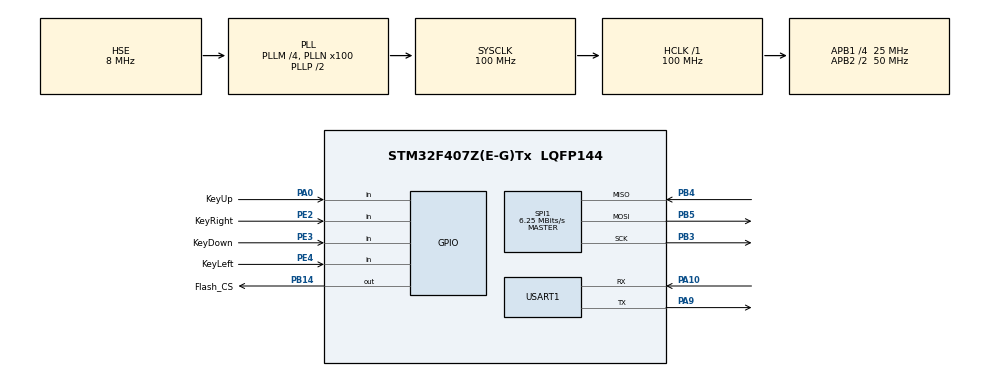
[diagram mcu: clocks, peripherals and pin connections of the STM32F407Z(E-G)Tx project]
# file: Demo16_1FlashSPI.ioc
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Dma.Request0=USART1_RX
Dma.Request1=USART1_TX
Dma.USART1_RX.0.Direction=DMA_PERIPH_TO_MEMORY
Dma.USART1_RX.0.FIFOMode=DMA_FIFOMODE_DISABLE
Dma.USART1_RX.0.Instance=DMA2_Stream2
Dma.USART1_RX.0.MemDataAlignment=DMA_MDATAALIGN_BYTE
Dma.USART1_RX.0.MemInc=DMA_MINC_ENABLE
Dma.USART1_RX.0.Mode=DMA_NORMAL
Dma.USART1_RX.0.PeriphDataAlignment=DMA_PDATAALIGN_BYTE
Dma.USART1_RX.0.PeriphInc=DMA_PINC_DISABLE
Dma.USART1_RX.0.Priority=DMA_PRIORITY_LOW
Dma.USART1_TX.1.Direction=DMA_MEMORY_TO_PERIPH
Dma.USART1_TX.1.FIFOMode=DMA_FIFOMODE_DISABLE
Dma.USART1_TX.1.Instance=DMA2_Stream7
Dma.USART1_TX.1.MemDataAlignment=DMA_MDATAALIGN_BYTE
Dma.USART1_TX.1.MemInc=DMA_MINC_ENABLE
Dma.USART1_TX.1.Mode=DMA_NORMAL
Dma.USART1_TX.1.PeriphDataAlignment=DMA_PDATAALIGN_BYTE
Dma.USART1_TX.1.PeriphInc=DMA_PINC_DISABLE
Dma.USART1_TX.1.Priority=DMA_PRIORITY_LOW
Mcu.Family=STM32F4
Mcu.Name=STM32F407Z(E-G)Tx
Mcu.Package=LQFP144
NVIC.DMA2_Stream2_IRQn=true\:0\:0\:false\:false\:true\:false\:true\:true
NVIC.DMA2_Stream7_IRQn=true\:0\:0\:false\:false\:true\:false\:true\:true
NVIC.PriorityGroup=NVIC_PRIORITYGROUP_4
NVIC.USART1_IRQn=true\:1\:0\:true\:false\:true\:true\:true\:true
PA0-WKUP.GPIO_Label=KeyUp
PA0-WKUP.GPIO_PuPd=GPIO_PULLDOWN
PA0-WKUP.Signal=GPIO_Input
PA10.Mode=Asynchronous
PA10.Signal=USART1_RX
PA13.Mode=Serial_Wire
PA13.Signal=SYS_JTMS-SWDIO
PA14.Mode=Serial_Wire
PA14.Signal=SYS_JTCK-SWCLK
PA9.Mode=Asynchronous
PA9.Signal=USART1_TX
PB14.GPIO_Label=Flash_CS
PB14.GPIO_PuPd=GPIO_PULLUP
PB14.GPIO_Speed=GPIO_SPEED_FREQ_HIGH
PB14.PinState=GPIO_PIN_SET
PB14.Signal=GPIO_Output
PB3.Mode=Full_Duplex_Master
PB3.Signal=SPI1_SCK
PB4.Mode=Full_Duplex_Master
PB4.Signal=SPI1_MISO
PB5.Mode=Full_Duplex_Master
PB5.Signal=SPI1_MOSI
PD0.GPIO_PuPd=GPIO_NOPULL
PD0.Signal=FSMC_D2_DA2
PD1.GPIO_PuPd=GPIO_NOPULL
PD1.Signal=FSMC_D3_DA3
PD10.GPIO_PuPd=GPIO_NOPULL
PD10.Signal=FSMC_D15_DA15
PD14.GPIO_PuPd=GPIO_NOPULL
PD14.Signal=FSMC_D0_DA0
PD15.GPIO_PuPd=GPIO_NOPULL
PD15.Signal=FSMC_D1_DA1
PD4.GPIO_PuPd=GPIO_NOPULL
PD4.Signal=FSMC_NOE
PD5.GPIO_PuPd=GPIO_NOPULL
PD5.Signal=FSMC_NWE
PD8.GPIO_PuPd=GPIO_NOPULL
PD8.Signal=FSMC_D13_DA13
PD9.GPIO_PuPd=GPIO_NOPULL
PD9.Signal=FSMC_D14_DA14
PE11.GPIO_PuPd=GPIO_NOPULL
PE11.Signal=FSMC_D8_DA8
PE12.GPIO_PuPd=GPIO_NOPULL
PE12.Signal=FSMC_D9_DA9
PE13.GPIO_PuPd=GPIO_NOPULL
PE13.Signal=FSMC_D10_DA10
PE14.GPIO_PuPd=GPIO_NOPULL
PE14.Signal=FSMC_D11_DA11
PE15.GPIO_PuPd=GPIO_NOPULL
PE15.Signal=FSMC_D12_DA12
PE2.GPIO_Label=KeyRight
PE2.GPIO_PuPd=GPIO_PULLUP
PE2.Signal=GPIO_Input
PE3.GPIO_Label=KeyDown
PE3.GPIO_PuPd=GPIO_PULLUP
PE3.Signal=GPIO_Input
PE4.GPIO_Label=KeyLeft
PE4.GPIO_PuPd=GPIO_PULLUP
PE4.Signal=GPIO_Input
PG12.GPIO_PuPd=GPIO_NOPULL
PG12.Signal=FSMC_NE4
PH0-OSC_IN.Mode=HSE-External-Oscillator
PH0-OSC_IN.Signal=RCC_OSC_IN
PH1-OSC_OUT.Mode=HSE-External-Oscillator
PH1-OSC_OUT.Signal=RCC_OSC_OUT
ProjectManager.HeapSize=0x200
ProjectManager.StackSize=0x400
ProjectManager.TargetToolchain=MDK-ARM V5.32
RCC.48MHZClocksFreq_Value=50000000
RCC.AHBFreq_Value=100000000
RCC.APB1CLKDivider=RCC_HCLK_DIV4
RCC.APB1Freq_Value=25000000
RCC.APB1TimFreq_Value=50000000
RCC.APB2CLKDivider=RCC_HCLK_DIV2
RCC.APB2Freq_Value=50000000
RCC.APB2TimFreq_Value=100000000
RCC.CortexFreq_Value=100000000
RCC.FLatency=FLASH_LATENCY_3
RCC.HCLKFreq_Value=100000000
RCC.HSE_VALUE=8000000
RCC.HSI_VALUE=16000000
RCC.LSE_VALUE=32768
RCC.PLLM=4
RCC.PLLN=100
RCC.PLLSourceVirtual=RCC_PLLSOURCE_HSE
RCC.SYSCLKFreq_VALUE=100000000
RCC.SYSCLKSource=RCC_SYSCLKSOURCE_PLLCLK
RCC.VCOOutputFreq_Value=200000000
SH.FSMC_D0_DA0.0=FSMC_D0
SH.FSMC_D10_DA10.0=FSMC_D10
SH.FSMC_D11_DA11.0=FSMC_D11
SH.FSMC_D12_DA12.0=FSMC_D12
SH.FSMC_D13_DA13.0=FSMC_D13
SH.FSMC_D14_DA14.0=FSMC_D14
SH.FSMC_D15_DA15.0=FSMC_D15
SH.FSMC_D1_DA1.0=FSMC_D1
SH.FSMC_D2_DA2.0=FSMC_D2
SH.FSMC_D3_DA3.0=FSMC_D3
SH.FSMC_D8_DA8.0=FSMC_D8
SH.FSMC_D9_DA9.0=FSMC_D9
SH.FSMC_NOE.0=FSMC_NOE
SH.FSMC_NWE.0=FSMC_NWE
SPI1.BaudRatePrescaler=SPI_BAUDRATEPRESCALER_8
SPI1.CLKPhase=SPI_PHASE_2EDGE
SPI1.CLKPolarity=SPI_POLARITY_HIGH
SPI1.CRCCalculation=SPI_CRCCALCULATION_DISABLE
SPI1.CalculateBaudRate=6.25 MBits/s
SPI1.Direction=SPI_DIRECTION_2LINES
SPI1.Mode=SPI_MODE_MASTER
SPI1.VirtualType=VM_MASTER
USART1.VirtualMode=VM_ASYNC
board=custom

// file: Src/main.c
/* USER CODE BEGIN Header */
/**
  ******************************************************************************
  * @file           : main.c
  * @brief          : Main program body
  ******************************************************************************
  * @attention
  *
  * <h2><center>&copy; Copyright (c) 2020 STMicroelectronics.
  * All rights reserved.</center></h2>
  *
  * This software component is licensed by ST under BSD 3-Clause license,
  * the "License"; You may not use this file except in compliance with the
  * License. You may obtain a copy of the License at:
  *                        opensource.org/licenses/BSD-3-Clause
  *
  ******************************************************************************
  */
/* USER CODE END Header */

#include "main.h"
#include "dma.h"
#include "spi.h"
#include "usart.h"
#include "gpio.h"

/* USER CODE BEGIN Includes */
#include "w25flash.h"
#include "UART_DMA.h"
/* USER CODE END Includes */

void SystemClock_Config(void);

int main(void)
{
  /* USER CODE BEGIN 1 */
extern uint8_t flag;
  /* USER CODE END 1 */

  /* MCU Configuration--------------------------------------------------------*/

  /* Reset of all peripherals, Initializes the Flash interface and the Systick. */
  HAL_Init();

  /* Configure the system clock */
  SystemClock_Config();

  /* Initialize all configured peripherals */
  MX_GPIO_Init();
  MX_DMA_Init();
  MX_SPI1_Init();
  MX_USART1_UART_Init();
  /* USER CODE BEGIN 2 */

StartUartRxDMA();

  /* USER CODE END 2 */

  /* Infinite loop */
  /* USER CODE BEGIN WHILE */
	while (1)
	{
		if(flag==1)
		{
			uint8_t devID=Flash_ReadID();
			USB_DMA_printf("  ID is %d",devID);
			HAL_Delay(50);
		Flash_TestReadStatus();
//		USB_printf("Erasing chip, about 30 sec...");
//			Flash_EraseChip();
//			USB_DMA_printf("Chip is erased.");
			flag=0;
		}
		if(flag==2)
		{
			USB_DMA_printf("Erasing blocks 0(256pages)...");
			uint32_t globalAddr=0;
			Flash_EraseBlock64K(globalAddr);
			USB_DMA_printf("Block 0 is erased.");
			flag=0;

		}
      if(flag==3)
	  {
		  Flash_TestWrite();
		  flag=0;
	  }
	  if(flag==4)
	  {
		  Flash_TestRead();
		  flag=0;
	  }
		}

    /* USER CODE END WHILE */

	}

void SystemClock_Config(void)
{
  RCC_OscInitTypeDef RCC_OscInitStruct = {0};
  RCC_ClkInitTypeDef RCC_ClkInitStruct = {0};

  /** Configure the main internal regulator output voltage
  */
  __HAL_RCC_PWR_CLK_ENABLE();
  __HAL_PWR_VOLTAGESCALING_CONFIG(PWR_REGULATOR_VOLTAGE_SCALE1);
  /** Initializes the CPU, AHB and APB busses clocks
  */
  RCC_OscInitStruct.OscillatorType = RCC_OSCILLATORTYPE_HSE;
  RCC_OscInitStruct.HSEState = RCC_HSE_ON;
  RCC_OscInitStruct.PLL.PLLState = RCC_PLL_ON;
  RCC_OscInitStruct.PLL.PLLSource = RCC_PLLSOURCE_HSE;
  RCC_OscInitStruct.PLL.PLLM = 4;
  RCC_OscInitStruct.PLL.PLLN = 100;
  RCC_OscInitStruct.PLL.PLLP = RCC_PLLP_DIV2;
  RCC_OscInitStruct.PLL.PLLQ = 4;
  if (HAL_RCC_OscConfig(&RCC_OscInitStruct) != HAL_OK)
  {
    Error_Handler();
  }
  /** Initializes the CPU, AHB and APB busses clocks
  */
  RCC_ClkInitStruct.ClockType = RCC_CLOCKTYPE_HCLK|RCC_CLOCKTYPE_SYSCLK
                              |RCC_CLOCKTYPE_PCLK1|RCC_CLOCKTYPE_PCLK2;
  RCC_ClkInitStruct.SYSCLKSource = RCC_SYSCLKSOURCE_PLLCLK;
  RCC_ClkInitStruct.AHBCLKDivider = RCC_SYSCLK_DIV1;
  RCC_ClkInitStruct.APB1CLKDivider = RCC_HCLK_DIV4;
  RCC_ClkInitStruct.APB2CLKDivider = RCC_HCLK_DIV2;

  if (HAL_RCC_ClockConfig(&RCC_ClkInitStruct, FLASH_LATENCY_3) != HAL_OK)
  {
    Error_Handler();
  }
}

void Error_Handler(void)
{
}

/************************ (C) COPYRIGHT STMicroelectronics *****END OF FILE****/
